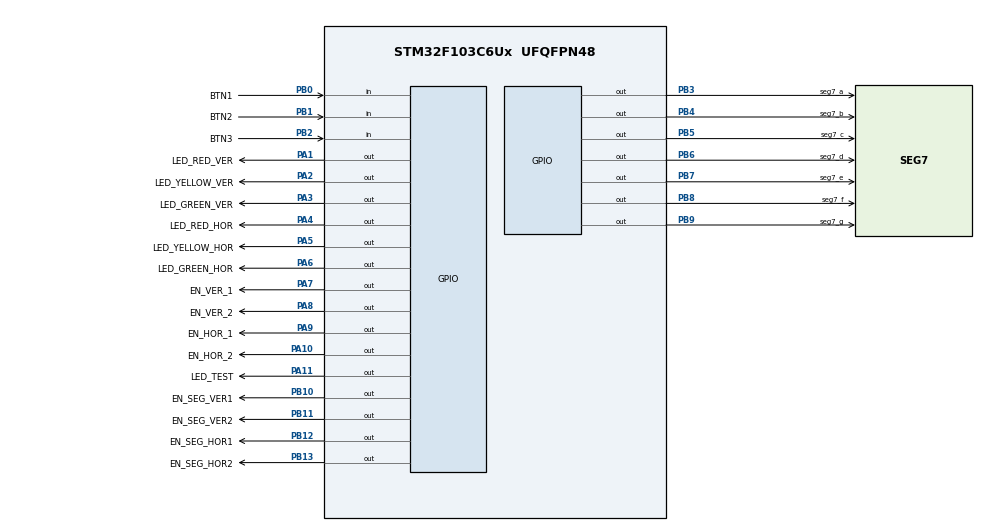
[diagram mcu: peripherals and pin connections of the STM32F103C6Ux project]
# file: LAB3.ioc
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Mcu.Family=STM32F1
Mcu.Name=STM32F103C6Ux
Mcu.Package=UFQFPN48
NVIC.PriorityGroup=NVIC_PRIORITYGROUP_4
NVIC.TIM2_IRQn=true\:0\:0\:false\:false\:true\:true\:true
PA1.GPIO_Label=LED_RED_VER
PA1.Signal=GPIO_Output
PA10.GPIO_Label=EN_HOR_2
PA10.Signal=GPIO_Output
PA11.GPIO_Label=LED_TEST
PA11.Signal=GPIO_Output
PA2.GPIO_Label=LED_YELLOW_VER
PA2.Signal=GPIO_Output
PA3.GPIO_Label=LED_GREEN_VER
PA3.Signal=GPIO_Output
PA4.GPIO_Label=LED_RED_HOR
PA4.Signal=GPIO_Output
PA5.GPIO_Label=LED_YELLOW_HOR
PA5.Signal=GPIO_Output
PA6.GPIO_Label=LED_GREEN_HOR
PA6.Signal=GPIO_Output
PA7.GPIO_Label=EN_VER_1
PA7.Signal=GPIO_Output
PA8.GPIO_Label=EN_VER_2
PA8.Signal=GPIO_Output
PA9.GPIO_Label=EN_HOR_1
PA9.Signal=GPIO_Output
PB0.GPIO_Label=BTN1
PB0.GPIO_PuPd=GPIO_PULLDOWN
PB0.Signal=GPIO_Input
PB1.GPIO_Label=BTN2
PB1.GPIO_PuPd=GPIO_PULLDOWN
PB1.Signal=GPIO_Input
PB10.GPIO_Label=EN_SEG_VER1
PB10.Signal=GPIO_Output
PB11.GPIO_Label=EN_SEG_VER2
PB11.Signal=GPIO_Output
PB12.GPIO_Label=EN_SEG_HOR1
PB12.Signal=GPIO_Output
PB13.GPIO_Label=EN_SEG_HOR2
PB13.Signal=GPIO_Output
PB2.GPIO_Label=BTN3
PB2.GPIO_PuPd=GPIO_PULLDOWN
PB2.Signal=GPIO_Input
PB3.GPIO_Label=seg7_a
PB3.Signal=GPIO_Output
PB4.GPIO_Label=seg7_b
PB4.Signal=GPIO_Output
PB5.GPIO_Label=seg7_c
PB5.Signal=GPIO_Output
PB6.GPIO_Label=seg7_d
PB6.Signal=GPIO_Output
PB7.GPIO_Label=seg7_e
PB7.Signal=GPIO_Output
PB8.GPIO_Label=seg7_f
PB8.Signal=GPIO_Output
PB9.GPIO_Label=seg7_g
PB9.Signal=GPIO_Output
ProjectManager.HeapSize=0x200
ProjectManager.StackSize=0x400
ProjectManager.TargetToolchain=STM32CubeIDE
RCC.APB1Freq_Value=8000000
RCC.APB2Freq_Value=8000000
TIM2.Period=9
TIM2.Prescaler=7999
VP_SYS_VS_ND.Mode=No_Debug
VP_TIM2_VS_ClockSourceINT.Mode=Internal
board=custom

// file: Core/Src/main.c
/* USER CODE BEGIN Header */
/**
  ******************************************************************************
  * @file           : main.c
  * @brief          : Main program body
  ******************************************************************************
  * @attention
  *
  * <h2><center>&copy; Copyright (c) 2023 STMicroelectronics.
  * All rights reserved.</center></h2>
  *
  * This software component is licensed by ST under BSD 3-Clause license,
  * the "License"; You may not use this file except in compliance with the
  * License. You may obtain a copy of the License at:
  *                        opensource.org/licenses/BSD-3-Clause
  *
  ******************************************************************************
  */
/* USER CODE END Header */
#include "main.h"

/* USER CODE BEGIN Includes */
#include "software_timer.h"
#include "traffic_light.h"
#include "input_reading.h"
#include "input_processing.h"
#include "test_button.h"
/* USER CODE END Includes */

TIM_HandleTypeDef htim2;

void SystemClock_Config(void);
static void MX_GPIO_Init(void);
static void MX_TIM2_Init(void);

/* USER CODE BEGIN 0 */
int interrupt_cycle = 0;
/* USER CODE END 0 */

int main(void)
{

  /* MCU Configuration--------------------------------------------------------*/

  /* Reset of all peripherals, Initializes the Flash interface and the Systick. */
  HAL_Init();

  /* Configure the system clock */
  SystemClock_Config();

  /* Initialize all configured peripherals */
  MX_GPIO_Init();
  MX_TIM2_Init();
  /* USER CODE BEGIN 2 */
  HAL_TIM_Base_Start_IT(&htim2);
  init_traffic_light();
  /* USER CODE END 2 */

  /* Infinite loop */
  while (1)
  {

    /* USER CODE BEGIN 3 */
	 fsm_for_input_processing();
	  //traffic_light();
	  //toogle();

  }
  /* USER CODE END 3 */
}

void SystemClock_Config(void)
{
  RCC_OscInitTypeDef RCC_OscInitStruct = {0};
  RCC_ClkInitTypeDef RCC_ClkInitStruct = {0};

  /** Initializes the RCC Oscillators according to the specified parameters
  * in the RCC_OscInitTypeDef structure.
  */
  RCC_OscInitStruct.OscillatorType = RCC_OSCILLATORTYPE_HSI;
  RCC_OscInitStruct.HSIState = RCC_HSI_ON;
  RCC_OscInitStruct.HSICalibrationValue = RCC_HSICALIBRATION_DEFAULT;
  RCC_OscInitStruct.PLL.PLLState = RCC_PLL_NONE;
  if (HAL_RCC_OscConfig(&RCC_OscInitStruct) != HAL_OK)
  {
    Error_Handler();
  }
  /** Initializes the CPU, AHB and APB buses clocks
  */
  RCC_ClkInitStruct.ClockType = RCC_CLOCKTYPE_HCLK|RCC_CLOCKTYPE_SYSCLK
                              |RCC_CLOCKTYPE_PCLK1|RCC_CLOCKTYPE_PCLK2;
  RCC_ClkInitStruct.SYSCLKSource = RCC_SYSCLKSOURCE_HSI;
  RCC_ClkInitStruct.AHBCLKDivider = RCC_SYSCLK_DIV1;
  RCC_ClkInitStruct.APB1CLKDivider = RCC_HCLK_DIV1;
  RCC_ClkInitStruct.APB2CLKDivider = RCC_HCLK_DIV1;

  if (HAL_RCC_ClockConfig(&RCC_ClkInitStruct, FLASH_LATENCY_0) != HAL_OK)
  {
    Error_Handler();
  }
}

static void MX_TIM2_Init(void)
{

  TIM_ClockConfigTypeDef sClockSourceConfig = {0};
  TIM_MasterConfigTypeDef sMasterConfig = {0};

  htim2.Instance = TIM2;
  htim2.Init.Prescaler = 7999;
  htim2.Init.CounterMode = TIM_COUNTERMODE_UP;
  htim2.Init.Period = 9;
  htim2.Init.ClockDivision = TIM_CLOCKDIVISION_DIV1;
  htim2.Init.AutoReloadPreload = TIM_AUTORELOAD_PRELOAD_DISABLE;
  if (HAL_TIM_Base_Init(&htim2) != HAL_OK)
  {
    Error_Handler();
  }
  sClockSourceConfig.ClockSource = TIM_CLOCKSOURCE_INTERNAL;
  if (HAL_TIM_ConfigClockSource(&htim2, &sClockSourceConfig) != HAL_OK)
  {
    Error_Handler();
  }
  sMasterConfig.MasterOutputTrigger = TIM_TRGO_RESET;
  sMasterConfig.MasterSlaveMode = TIM_MASTERSLAVEMODE_DISABLE;
  if (HAL_TIMEx_MasterConfigSynchronization(&htim2, &sMasterConfig) != HAL_OK)
  {
    Error_Handler();
  }
  /* USER CODE BEGIN TIM2_Init 2 */
  interrupt_cycle = (int)(((1+htim2.Init.Prescaler)*(1+htim2.Init.Period))/8000);
  /* USER CODE END TIM2_Init 2 */

}

static void MX_GPIO_Init(void)
{
  GPIO_InitTypeDef GPIO_InitStruct = {0};

  /* GPIO Ports Clock Enable */
  __HAL_RCC_GPIOA_CLK_ENABLE();
  __HAL_RCC_GPIOB_CLK_ENABLE();

  /*Configure GPIO pin Output Level */
  HAL_GPIO_WritePin(GPIOA, LED_RED_VER_Pin|LED_YELLOW_VER_Pin|LED_GREEN_VER_Pin|LED_RED_HOR_Pin
                          |LED_YELLOW_HOR_Pin|LED_GREEN_HOR_Pin|EN_VER_1_Pin|EN_VER_2_Pin
                          |EN_HOR_1_Pin|EN_HOR_2_Pin|LED_TEST_Pin, GPIO_PIN_SET);

  /*Configure GPIO pin Output Level */
  HAL_GPIO_WritePin(GPIOB, EN_SEG_VER1_Pin|EN_SEG_VER2_Pin|EN_SEG_HOR1_Pin|EN_SEG_HOR2_Pin
                          |seg7_a_Pin|seg7_b_Pin|seg7_c_Pin|seg7_d_Pin
                          |seg7_e_Pin|seg7_f_Pin|seg7_g_Pin, GPIO_PIN_SET);

  /*Configure GPIO pins : LED_RED_VER_Pin LED_YELLOW_VER_Pin LED_GREEN_VER_Pin LED_RED_HOR_Pin
                           LED_YELLOW_HOR_Pin LED_GREEN_HOR_Pin EN_VER_1_Pin EN_VER_2_Pin
                           EN_HOR_1_Pin EN_HOR_2_Pin LED_TEST_Pin */
  GPIO_InitStruct.Pin = LED_RED_VER_Pin|LED_YELLOW_VER_Pin|LED_GREEN_VER_Pin|LED_RED_HOR_Pin
                          |LED_YELLOW_HOR_Pin|LED_GREEN_HOR_Pin|EN_VER_1_Pin|EN_VER_2_Pin
                          |EN_HOR_1_Pin|EN_HOR_2_Pin|LED_TEST_Pin;
  GPIO_InitStruct.Mode = GPIO_MODE_OUTPUT_PP;
  GPIO_InitStruct.Pull = GPIO_NOPULL;
  GPIO_InitStruct.Speed = GPIO_SPEED_FREQ_LOW;
  HAL_GPIO_Init(GPIOA, &GPIO_InitStruct);

  /*Configure GPIO pin : BTN1_Pin */
  GPIO_InitStruct.Pin = BTN1_Pin;
  GPIO_InitStruct.Mode = GPIO_MODE_INPUT;
  GPIO_InitStruct.Pull = GPIO_PULLDOWN;
  HAL_GPIO_Init(BTN1_GPIO_Port, &GPIO_InitStruct);

  /*Configure GPIO pins : BTN2_Pin BTN3_Pin */
  GPIO_InitStruct.Pin = BTN2_Pin|BTN3_Pin;
  GPIO_InitStruct.Mode = GPIO_MODE_INPUT;
  GPIO_InitStruct.Pull = GPIO_PULLUP;
  HAL_GPIO_Init(GPIOB, &GPIO_InitStruct);

  /*Configure GPIO pins : EN_SEG_VER1_Pin EN_SEG_VER2_Pin EN_SEG_HOR1_Pin EN_SEG_HOR2_Pin
                           seg7_a_Pin seg7_b_Pin seg7_c_Pin seg7_d_Pin
                           seg7_e_Pin seg7_f_Pin seg7_g_Pin */
  GPIO_InitStruct.Pin = EN_SEG_VER1_Pin|EN_SEG_VER2_Pin|EN_SEG_HOR1_Pin|EN_SEG_HOR2_Pin
                          |seg7_a_Pin|seg7_b_Pin|seg7_c_Pin|seg7_d_Pin
                          |seg7_e_Pin|seg7_f_Pin|seg7_g_Pin;
  GPIO_InitStruct.Mode = GPIO_MODE_OUTPUT_PP;
  GPIO_InitStruct.Pull = GPIO_NOPULL;
  GPIO_InitStruct.Speed = GPIO_SPEED_FREQ_LOW;
  HAL_GPIO_Init(GPIOB, &GPIO_InitStruct);

}

/* USER CODE BEGIN 4 */

void HAL_TIM_PeriodElapsedCallback(TIM_HandleTypeDef *htim)
{
	if(htim->Instance == TIM2){
		button_reading();
		timerRun();
	}
}

int get_interrupt_cycle(){
	return interrupt_cycle;
}
/* USER CODE END 4 */

void Error_Handler(void)
{
  __disable_irq();
  while (1)
  {
  }
}

/************************ (C) COPYRIGHT STMicroelectronics *****END OF FILE****/
